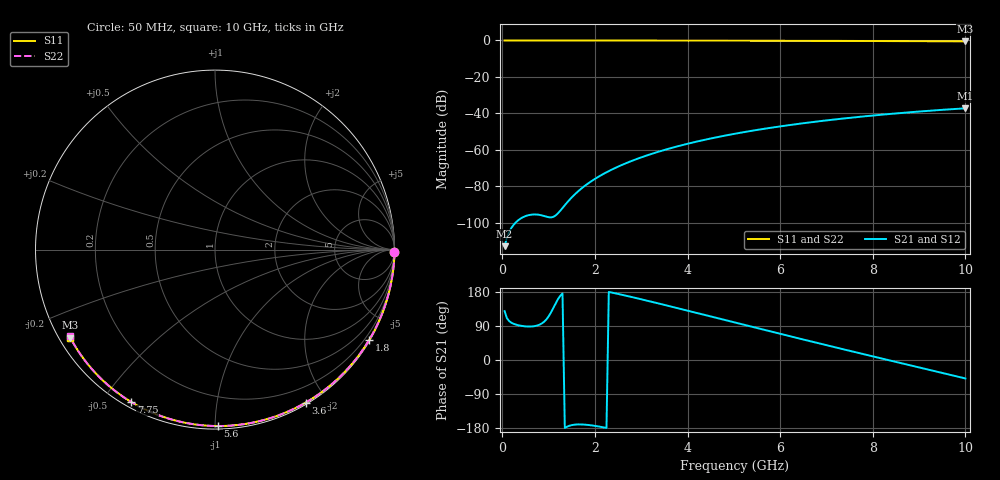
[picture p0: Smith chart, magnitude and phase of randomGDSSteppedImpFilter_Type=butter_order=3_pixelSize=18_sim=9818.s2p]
! freq	dB(S11)	phase(S11)	dB(S12)	phase(S12)
!  dB(S21)	phase(S21)	dB(S22)	phase(S22)
!S-par simulation data
#  GHz  S  DB  R 50
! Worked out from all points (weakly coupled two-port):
!   200 points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, 50 MHz to 10 GHz, reference 50 ohm
!   highest |S21| = -37.26 dB at 10 GHz (marker M1); lowest = -113.0 dB at 50 MHz (marker M2)
!   lowest |S11| = -0.5 dB at 10 GHz (marker M3), VSWR 34.41, Z = 1.57 - j14 ohm
!   |S11| at or under -10 dB: nowhere
!   |S22| runs from -0.5 to 0.0 dB; largest |S21 - S12| = 0
!   S11 on the Smith chart (normalised r, x): 50 MHz: open; 1.8 GHz: 0.03, -3.68; 3.6 GHz: 0.02, -1.76; 5.6 GHz: 0.02, -1.02; 7.75 GHz: 0.02, -0.59; 10 GHz: 0.03, -0.28
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0.05  -0.00 -0.9  -112.95 129.0  -112.95 129.0  -0.00 -0.9
0.45  -0.01 -7.7  -97.02 89.4  -97.02 89.4  -0.01 -7.7
0.9  -0.02 -15.4  -96.37 100.6  -96.37 100.6  -0.02 -15.4
1.3  -0.03 -22.1  -91.99 175.6  -91.99 175.6  -0.03 -22.2
1.75  -0.04 -29.6  -80.46 -170.3  -80.46 -170.3  -0.04 -29.7
1.8  -0.04 -30.4  -79.48 -170.8  -79.48 -170.8  -0.04 -30.5
1.95  -0.04 -32.9  -76.83 -172.9  -76.83 -172.9  -0.04 -33.0
2.1  -0.05 -35.4  -74.49 -175.8  -74.49 -175.8  -0.05 -35.5
2.3  -0.05 -38.6  -71.73 179.6  -71.73 179.6  -0.05 -38.7
2.5  -0.05 -41.9  -69.29 174.4  -69.29 174.4  -0.05 -42.0
2.9  -0.06 -48.3  -65.12 163.2  -65.12 163.2  -0.06 -48.5
3.4  -0.07 -56.2  -60.87 148.4  -60.87 148.4  -0.07 -56.4
3.6  -0.08 -59.3  -59.39 142.4  -59.39 142.4  -0.08 -59.5
4.3  -0.10 -70.1  -54.94 121.0  -54.94 121.0  -0.10 -70.3
5.05  -0.13 -81.2  -51.09 98.1  -51.09 98.1  -0.13 -81.4
5.6  -0.15 -89.1  -48.72 81.3  -48.72 81.3  -0.15 -89.4
6.15  -0.17 -96.9  -46.64 64.6  -46.64 64.6  -0.17 -97.2
6.7  -0.20 -104.5  -44.81 48.0  -44.81 48.0  -0.20 -104.9
7.75  -0.28 -118.8  -41.84 16.9  -41.84 16.9  -0.28 -119.1
8.35  -0.33 -126.8  -40.40 -0.7  -40.40 -0.7  -0.33 -127.2
9.2  -0.41 -138.0  -38.64 -25.4  -38.64 -25.4  -0.41 -138.5
10  -0.50 -148.7  -37.26 -48.7  -37.26 -48.7  -0.51 -149.2
